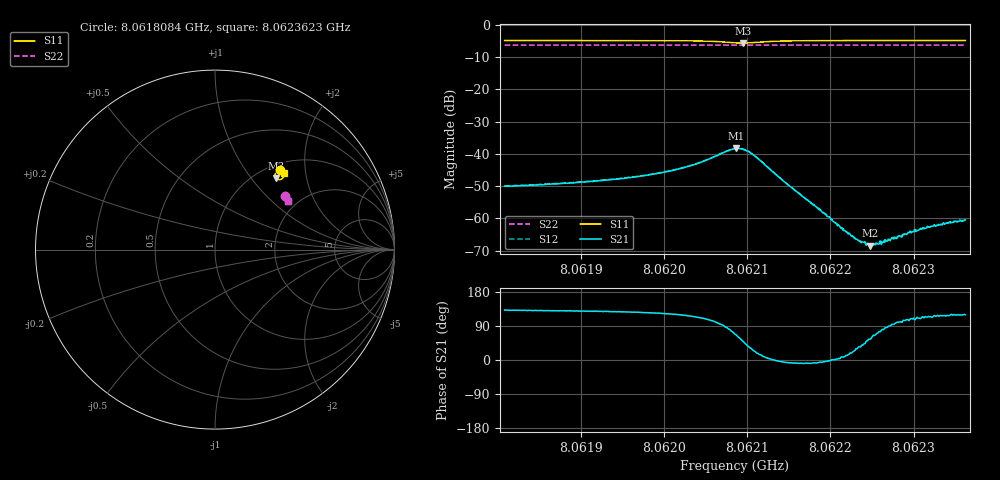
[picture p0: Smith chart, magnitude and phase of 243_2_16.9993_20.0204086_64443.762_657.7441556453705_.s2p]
#  HZ  S  RI  R  50.00
! Rohde & Schwarz Vector Network Analyzer
! Rohde-Schwarz,ZNB20-2Port,1311601062101988,3.16
! Created: UTC 3/20/2024, 11:02:57 PM
! freq[Hz]  re:S11  im:S11  re:S21  im:S21  re:S12  im:S12  re:S22  im:S22
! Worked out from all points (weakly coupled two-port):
!   401 points, 8.0618084 GHz to 8.0623623 GHz, reference 50 ohm
!   highest |S21| = -38.27 dB at 8.0620868 GHz (marker M1); lowest = -68.5 dB at 8.0622474 GHz (marker M2)
!   lowest |S11| = -5.6 dB at 8.0620951 GHz (marker M3), VSWR 3.20, Z = 61.3 + j67.1 ohm
!   |S11| at or under -10 dB: nowhere
!   |S22| runs from -6.3 to -6.2 dB; largest |S21 - S12| = 0.00082
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8.06180845e9  0.3643 0.4458  -0.0021 0.00234  -0.00196 0.0025  0.3886 0.2965
8.06190122e9  0.3712 0.4398  -0.0023 0.00283  -0.00216 0.003  0.392 0.2919
8.06194415e9  0.3747 0.4361  -0.00246 0.00323  -0.00232 0.00344  0.3934 0.2897
8.061994e9  0.3794 0.4298  -0.00276 0.00421  -0.00256 0.0044  0.3953 0.287
8.06203693e9  0.3833 0.4186  -0.00281 0.00626  -0.00246 0.00651  0.3964 0.2843
8.06208539e9  0.3572 0.3899  0.00451 0.0112  0.00518 0.011  0.3965 0.2814
8.06208678e9  0.3547 0.3901  0.00491 0.0112  0.00563 0.0108  0.3963 0.2815
8.06209509e9  0.3408 0.3973  0.00778 0.00889  0.00831 0.00849  0.3961 0.2815
8.06210062e9  0.3354 0.4062  0.00882 0.00671  0.0093 0.00623  0.3961 0.2817
8.06211032e9  0.335 0.4216  0.0084 0.00322  0.00869 0.00265  0.3967 0.282
8.06214909e9  0.3579 0.4395  0.00331 -0.000396  0.0033 -0.000613  0.3992 0.2807
8.06217817e9  0.3668 0.4385  0.00166 -0.000237  0.00164 -0.000319  0.4005 0.2791
8.06221556e9  0.3735 0.4358  0.000644 8.65e-05  0.00069 5.17e-05  0.4018 0.2772
8.06223079e9  0.3755 0.4348  0.000412 0.000235  0.000441 0.000169  0.4025 0.2763
8.06224602e9  0.3773 0.4339  0.000229 0.000323  0.000217 0.000326  0.403 0.2755
8.06224741e9  0.3774 0.4338  0.000218 0.000308  0.000214 0.000314  0.4031 0.2755
8.06225571e9  0.3783 0.4331  0.000141 0.000387  0.000161 0.000369  0.4034 0.275
8.06227095e9  0.3798 0.4322  2.71e-06 0.000462  -8.69e-06 0.000474  0.4038 0.2742
8.06229587e9  0.3821 0.4306  -0.000192 0.000607  -0.000166 0.000596  0.4045 0.2729
8.06230418e9  0.3826 0.4301  -0.00025 0.000592  -0.00022 0.000623  0.4049 0.2724
8.06231941e9  0.384 0.4292  -0.000294 0.000663  -0.000278 0.000681  0.4055 0.2718
8.06236234e9  0.3871 0.4268  -0.000465 0.000826  -0.00043 0.000861  0.4069 0.2694
